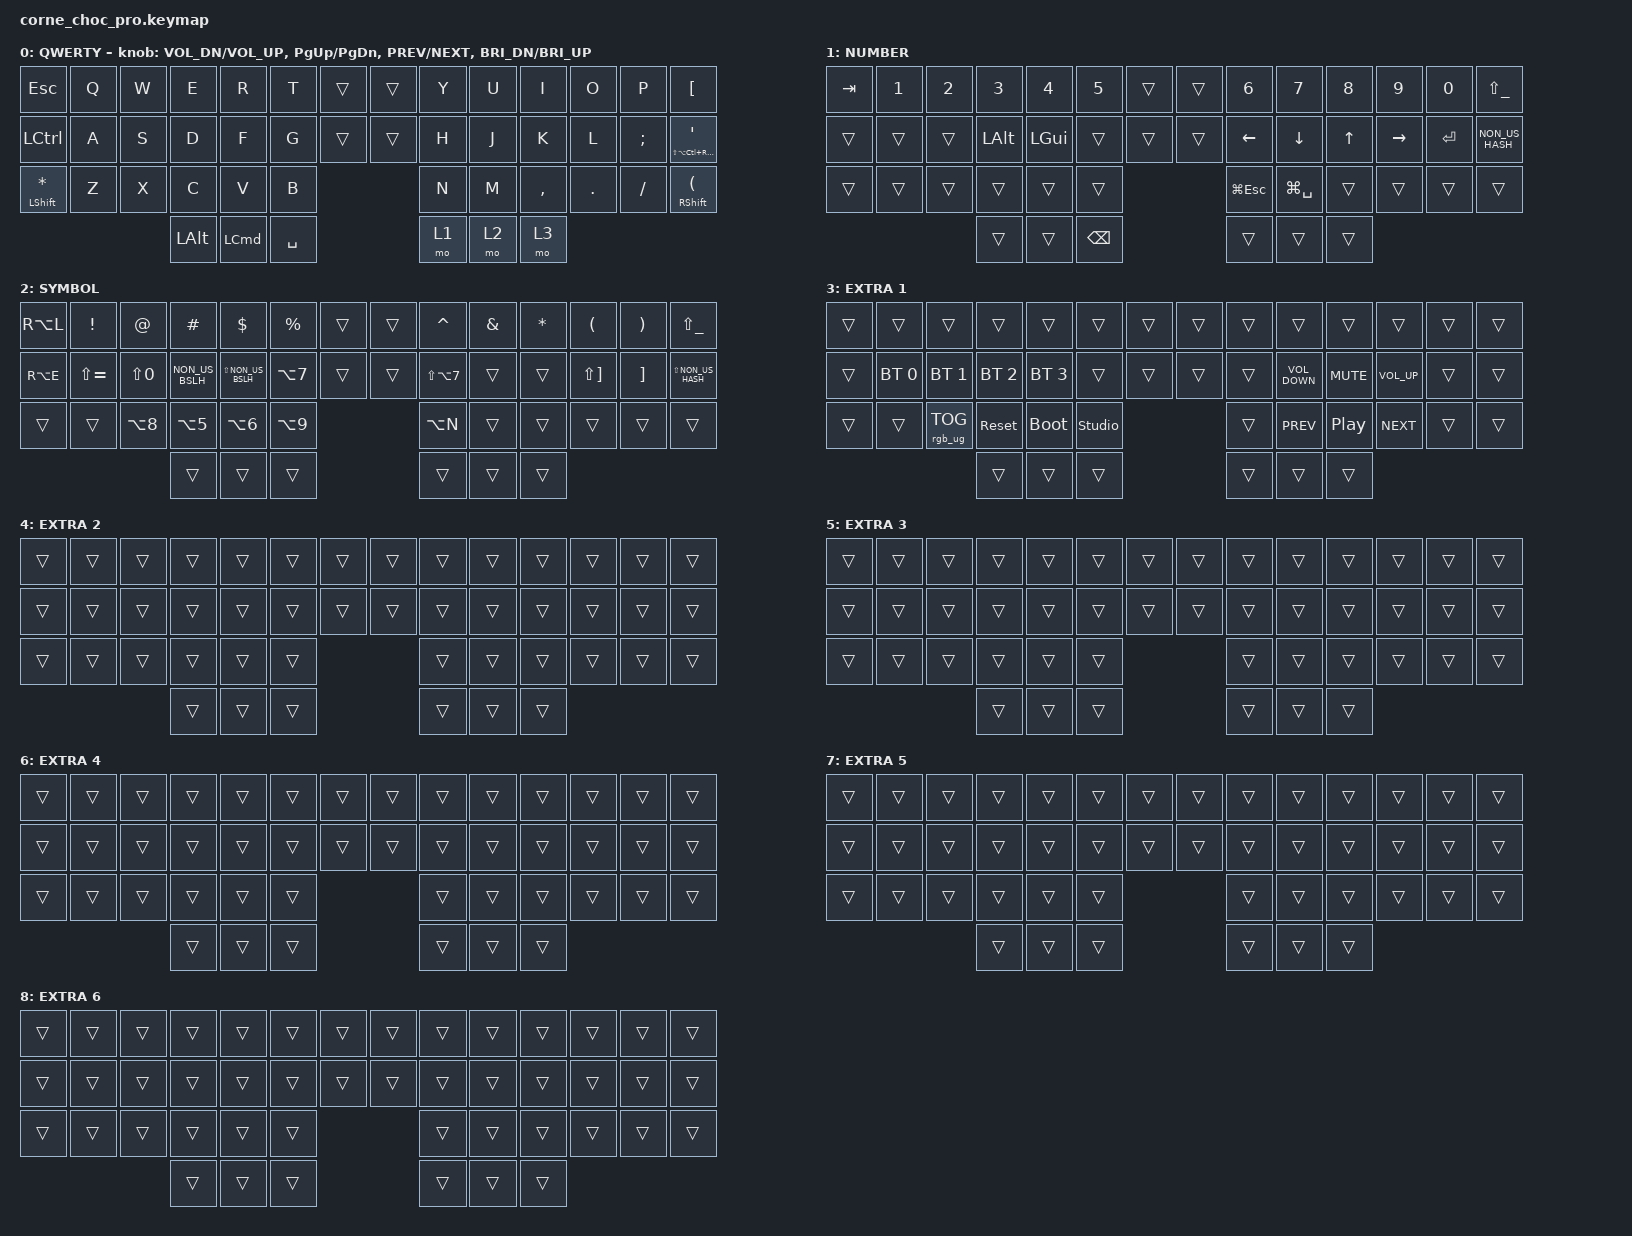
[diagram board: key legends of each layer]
/*
 * Copyright (c) 2020 The ZMK Contributors
 *
 * SPDX-License-Identifier: MIT
 */

#include <behaviors.dtsi>
#include <dt-bindings/zmk/bt.h>
#include <dt-bindings/zmk/keys.h>
#include <dt-bindings/zmk/rgb.h>

/ {
    chosen { zmk,physical-layout = &default_layout; };
};

/ {
    keymap {
        compatible = "zmk,keymap";

        default_layer {
            display-name = "QWERTY";

            // --------------------------------------------------------------------------------
            // |  TAB |  Q  |  W  |  E  |  R  |  T  |  MUTE |  PP   |  Y  |  U   |  I  |  O  |  P  | BSPC |
            // | CTRL |  A  |  S  |  D  |  F  |  G  |  LALT |  RALT |  H  |  J   |  K  |  L  |  ;  |  '   |
            // | SHFT |  Z  |  X  |  C  |  V  |  B  |               |  N  |  M   |  ,  |  .  |  /  | ESC  |
            //                    | GUI | LWR | SPC |               | ENT | RSE  | ALT |

            bindings = <
&kp ESC              &kp Q  &kp W  &kp E         &kp R             &kp T      &trans  &trans  &kp Y  &kp U  &kp I      &kp O    &kp P     &kp LEFT_BRACKET
&kp LCTRL            &kp A  &kp S  &kp D         &kp F             &kp G      &trans  &trans  &kp H  &kp J  &kp K      &kp L    &kp SEMI  &mt LS(LA(LC(RIGHT_GUI))) SQT
&mt LEFT_SHIFT STAR  &kp Z  &kp X  &kp C         &kp V             &kp B                      &kp N  &kp M  &kp COMMA  &kp DOT  &kp FSLH  &mt RIGHT_SHIFT LEFT_PARENTHESIS
                                   &kp LEFT_ALT  &kp LEFT_COMMAND  &kp SPACE                  &mo 1  &mo 2  &mo 3
            >;

            sensor-bindings = <&inc_dec_kp C_VOL_DN C_VOL_UP &inc_dec_kp PG_UP PG_DN &inc_dec_kp C_PREV C_NEXT &inc_dec_kp C_BRI_DN C_BRI_UP>;
        };

        lower_layer {
            display-name = "NUMBER";

            // -----------------------------------------------------------------------------------------
            // |  TAB |  1  |  2  |  3  |  4  |  5    |  LCTRL | RCTRL |  6  |  7  |  8  |  9  |  0  | BSPC |
            // | CTRL | BT1 | BT2 | BT3 | BT4 | BT5   |  LALT  | RALT  | LFT | DWN |  UP | RGT |     |      |
            // | SHFT | BTCR| RGB | RST | BOOT| Unlock|        |       |     |     |     |     |     |      |
            //                    | GUI |     | SPC   |        | ENT   |     | ALT |

            bindings = <
&kp TAB  &kp N1  &kp N2  &kp N3        &kp N4        &kp N5         &trans  &trans  &kp N6       &kp N7         &kp N8  &kp N9     &kp N0     &kp LS(UNDERSCORE)
&trans   &trans  &trans  &kp LEFT_ALT  &kp LEFT_GUI  &trans         &trans  &trans  &kp LEFT     &kp DOWN       &kp UP  &kp RIGHT  &kp ENTER  &kp NON_US_HASH
&trans   &trans  &trans  &trans        &trans        &trans                         &kp LG(ESC)  &kp LG(SPACE)  &trans  &trans     &trans     &trans
                         &trans        &trans        &kp BACKSPACE                  &trans       &trans         &trans
            >;
        };

        raise_layer {
            display-name = "SYMBOL";

            // -----------------------------------------------------------------------------------------
            // |  TAB |  !  |  @  |  #  |  $  |  %  | LCTRL | RCTRL |  ^  |  &  |  *  |  (  |  )  | BSPC |
            // | CTRL |     |     |     |     |     |  LALT | RALT  |  -  |  =  |  [  |  ]  |  \  |  `   |
            // | SHFT |     |     |     |     |     |               |  _  |  +  |  {  |  }  | "|" |  ~   |
            //                    | GUI |     | SPC |               | ENT |     | ALT |

            bindings = <
&kp RA(L)  &kp EXCL       &kp AT      &kp HASH         &kp DLLR             &kp PRCNT   &trans  &trans  &kp CARET       &kp AMPS  &kp ASTRK  &kp LPAR               &kp RPAR           &kp LS(UNDERSCORE)
&kp RA(E)  &kp LS(EQUAL)  &kp LS(N0)  &kp NON_US_BSLH  &kp LS(NON_US_BSLH)  &kp LA(N7)  &trans  &trans  &kp LS(LA(N7))  &trans    &trans     &kp LS(RIGHT_BRACKET)  &kp RIGHT_BRACKET  &kp LS(NON_US_HASH)
&trans     &trans         &kp LA(N8)  &kp LA(N5)       &kp LA(NUMBER_6)     &kp LA(N9)                  &kp LA(N)       &trans    &trans     &trans                 &trans             &trans
                                      &trans           &trans               &trans                      &trans          &trans    &trans
            >;
        };

        extra_layer_1 {
            display-name = "EXTRA 1";
            bindings = <
&trans  &trans        &trans           &trans        &trans        &trans          &trans  &trans  &trans  &trans             &trans            &trans           &trans  &trans
&trans  &bt BT_SEL 0  &bt BT_SEL 1     &bt BT_SEL 2  &bt BT_SEL 3  &trans          &trans  &trans  &trans  &kp C_VOLUME_DOWN  &kp K_MUTE        &kp C_VOLUME_UP  &trans  &trans
&trans  &trans        &rgb_ug RGB_TOG  &sys_reset    &bootloader   &studio_unlock                  &trans  &kp C_PREV         &kp C_PLAY_PAUSE  &kp C_NEXT       &trans  &trans
                                       &trans        &trans        &trans                          &trans  &trans             &trans
            >;
        };

        extra_layer_2 {
            display-name = "EXTRA 2";
            bindings = <
&trans  &trans  &trans  &trans  &trans  &trans  &trans  &trans  &trans  &trans  &trans  &trans  &trans  &trans
&trans  &trans  &trans  &trans  &trans  &trans  &trans  &trans  &trans  &trans  &trans  &trans  &trans  &trans
&trans  &trans  &trans  &trans  &trans  &trans                  &trans  &trans  &trans  &trans  &trans  &trans
                        &trans  &trans  &trans                  &trans  &trans  &trans
            >;
        };

        extra_layer_3 {
            display-name = "EXTRA 3";
            bindings = <
&trans  &trans  &trans  &trans  &trans  &trans  &trans  &trans  &trans  &trans  &trans  &trans  &trans  &trans
&trans  &trans  &trans  &trans  &trans  &trans  &trans  &trans  &trans  &trans  &trans  &trans  &trans  &trans
&trans  &trans  &trans  &trans  &trans  &trans                  &trans  &trans  &trans  &trans  &trans  &trans
                        &trans  &trans  &trans                  &trans  &trans  &trans
            >;
        };

        extra_layer_4 {
            display-name = "EXTRA 4";
            bindings = <
&trans  &trans  &trans  &trans  &trans  &trans  &trans  &trans  &trans  &trans  &trans  &trans  &trans  &trans
&trans  &trans  &trans  &trans  &trans  &trans  &trans  &trans  &trans  &trans  &trans  &trans  &trans  &trans
&trans  &trans  &trans  &trans  &trans  &trans                  &trans  &trans  &trans  &trans  &trans  &trans
                        &trans  &trans  &trans                  &trans  &trans  &trans
            >;
        };

        extra_layer_5 {
            display-name = "EXTRA 5";
            bindings = <
&trans  &trans  &trans  &trans  &trans  &trans  &trans  &trans  &trans  &trans  &trans  &trans  &trans  &trans
&trans  &trans  &trans  &trans  &trans  &trans  &trans  &trans  &trans  &trans  &trans  &trans  &trans  &trans
&trans  &trans  &trans  &trans  &trans  &trans                  &trans  &trans  &trans  &trans  &trans  &trans
                        &trans  &trans  &trans                  &trans  &trans  &trans
            >;
        };

        extra_layer_6 {
            display-name = "EXTRA 6";
            bindings = <
&trans  &trans  &trans  &trans  &trans  &trans  &trans  &trans  &trans  &trans  &trans  &trans  &trans  &trans
&trans  &trans  &trans  &trans  &trans  &trans  &trans  &trans  &trans  &trans  &trans  &trans  &trans  &trans
&trans  &trans  &trans  &trans  &trans  &trans                  &trans  &trans  &trans  &trans  &trans  &trans
                        &trans  &trans  &trans                  &trans  &trans  &trans
            >;
        };
    };
};
